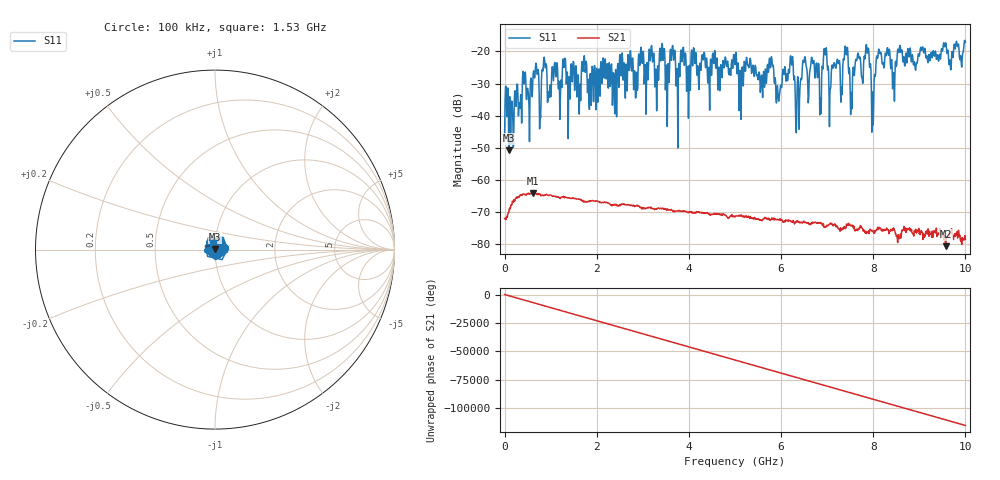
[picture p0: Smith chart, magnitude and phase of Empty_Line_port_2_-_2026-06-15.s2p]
# Hz S DB R 50
! CMT, S5180B, 24320003, 25.3.3/2
! Date: 6/15/2026 3:14:03 PM
! Data: Format (Calibration Info)
! Freq	S11:dB/Ang(--)	S21:dB/Ang(--)	S12:dB/Ang(--)	S22:dB/Ang(--)
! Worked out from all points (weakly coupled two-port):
!   1001 points, 100 kHz to 10 GHz, reference 50 ohm
!   highest |S21| = -64.03 dB at 610.1 MHz (marker M1); lowest = -80.6 dB at 9.57 GHz (marker M2)
!   lowest |S11| = -50.8 dB at 90.1 MHz (marker M3), VSWR 1.01, Z = 49.7 + j0.131 ohm
!   |S11| at or under -10 dB: start of sweep to end of sweep
!   S12 and S22 are empty: the file has one direction only
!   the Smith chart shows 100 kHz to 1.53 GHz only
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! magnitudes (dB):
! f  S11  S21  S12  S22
! 100 kHz  -46.4  -72.0  -  -
! 90.1 MHz  -50.8  -70.1  -  -
! 610.1 MHz  -29.9  -64.0  -  -
! 1.67 GHz  -24.8  -66.3  -  -
! 3.34 GHz  -29.0  -68.7  -  -
! 5 GHz  -24.1  -71.5  -  -
! 5.13 GHz  -41.1  -71.0  -  -
! 5.79 GHz  -21.6  -72.3  -  -
! 5.94 GHz  -35.0  -72.4  -  -
! 6.21 GHz  -21.3  -72.9  -  -
! 6.36 GHz  -27.8  -72.7  -  -
! 6.48 GHz  -22.8  -73.1  -  -
! 6.67 GHz  -21.9  -73.6  -  -
! 7.08 GHz  -30.9  -73.4  -  -
! 7.4 GHz  -18.6  -75.1  -  -
! 7.54 GHz  -37.8  -74.1  -  -
! 7.86 GHz  -18.8  -76.4  -  -
! 8 GHz  -42.9  -76.0  -  -
! 8.11 GHz  -20.3  -75.2  -  -
! 8.34 GHz  -20.3  -76.7  -  -
! 9.57 GHz  -17.3  -80.6  -  -
! 10 GHz  -17.2  -78.5  -  -
